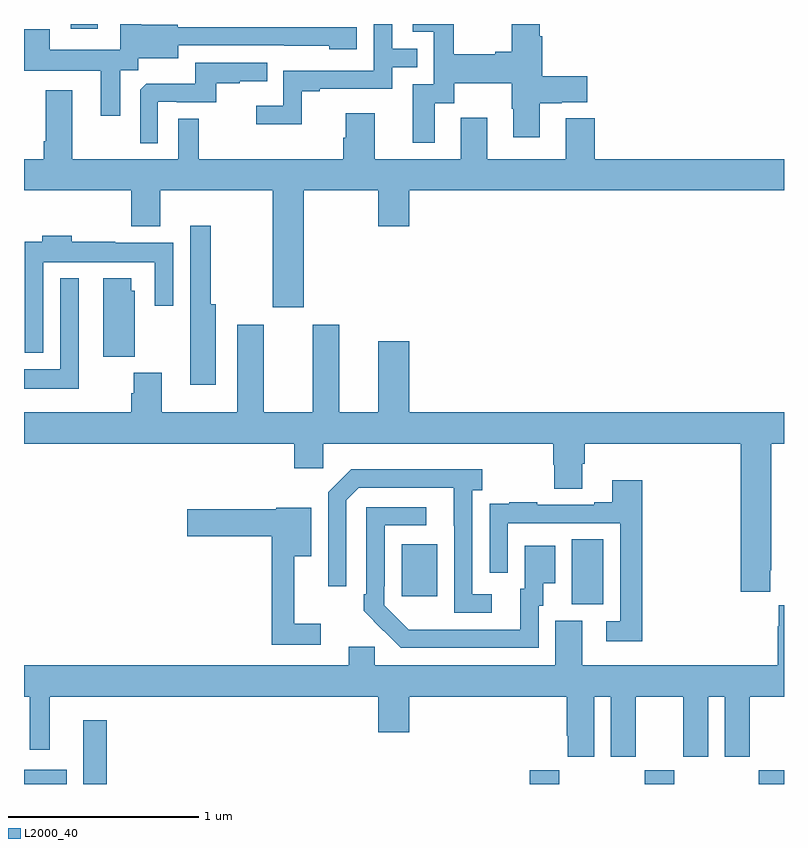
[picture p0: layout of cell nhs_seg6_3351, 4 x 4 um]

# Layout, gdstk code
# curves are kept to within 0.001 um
import gdstk
lib = gdstk.Library(unit=1e-6, precision=1e-09)
def R(c, l, rs):  # rectangles x0, y0, x1, y1
    for r in rs: c.add(gdstk.rectangle(r[:2], r[2:], *l))
def P(c, l, *ps):  # polygons
    for p in ps: c.add(gdstk.Polygon(p, *l))
L2000_40 = (2000, 40)

nhs_seg6_3351 = lib.new_cell('nhs_seg6_3351')
R(nhs_seg6_3351, L2000_40, [(307,989.5,307.225,989.575), (307.313,989.5,307.435,989.836), (309.662,989.5,309.817,989.572), (310.267,989.5,310.422,989.572), (310.867,989.5,311,989.572), (309.884,990.445,310.048,990.788), (308.987,990.489,309.175,990.763), (307.247,993.474,307.387,993.5)])
P(nhs_seg6_3351, L2000_40, [(309.163,993.082),(309.265,993.082),(309.265,993.188),(309.568,993.188),(309.568,993.054),(309.575,993.054),(309.575,992.904),(309.715,992.904),(309.715,993.082),(309.831,993.082),(309.831,993.089),(309.964,993.089),(309.964,993.224),(309.728,993.224),(309.728,993.436),(309.715,993.436),(309.715,993.5),(309.568,993.5),(309.568,993.353),(309.479,993.353),(309.479,993.34),(309.261,993.34),(309.261,993.5),(309.047,993.5),(309.047,993.459),(309.156,993.459),(309.156,993.183),(309.047,993.183),(309.047,992.874),(309.163,992.874)],
  [(307.507,993.256),(307.602,993.256),(307.602,993.32),(307.813,993.32),(307.813,993.387),(308.371,993.387),(308.371,993.386),(308.607,993.386),(308.607,993.368),(308.752,993.368),(308.752,993.483),(307.809,993.483),(307.809,993.496),(307.617,993.496),(307.617,993.5),(307.506,993.5),(307.506,993.364),(307.135,993.364),(307.135,993.473),(307,993.473),(307,993.254),(307.403,993.254),(307.403,993.018),(307.507,993.018)],
  [(308.463,993.147),(308.557,993.147),(308.557,993.159),(308.937,993.159),(308.937,993.273),(309.071,993.273),(309.071,993.369),(308.937,993.369),(308.937,993.5),(308.841,993.5),(308.841,993.255),(308.364,993.255),(308.364,993.07),(308.223,993.07),(308.223,992.972),(308.463,992.972)],
  [(307.704,993.09),(307.804,993.09),(307.804,993.087),(308.012,993.087),(308.012,993.189),(308.135,993.189),(308.135,993.2),(308.279,993.2),(308.279,993.297),(307.902,993.297),(307.902,993.185),(307.643,993.185),(307.611,993.153),(307.611,992.873),(307.704,992.873)],
  [(307.921,993.002),(307.812,993.002),(307.812,992.788),(307.255,992.788),(307.255,993.151),(307.115,993.151),(307.115,992.884),(307.103,992.884),(307.103,992.788),(307,992.788),(307,992.624),(307.565,992.624),(307.565,992.435),(307.717,992.435),(307.717,992.624),(308.309,992.624),(308.309,992.01),(308.473,992.01),(308.473,992.624),(308.864,992.624),(308.864,992.436),(309.028,992.436),(309.028,992.624),(311,992.624),(311,992.788),(310.004,992.788),(310.004,993.004),(309.851,993.004),(309.851,992.788),(309.439,992.788),(309.439,993.007),(309.299,993.007),(309.299,992.788),(308.845,992.788),(308.845,993.031),(308.693,993.031),(308.693,992.901),(308.681,992.901),(308.681,992.788),(307.921,992.788)],
  [(308.008,992.026),(307.984,992.026),(307.984,992.437),(307.875,992.437),(307.875,991.922),(307.874,991.922),(307.874,991.602),(308.008,991.602)],
  [(307.101,992.246),(307.689,992.246),(307.689,992.016),(307.785,992.016),(307.785,992.35),(307.481,992.35),(307.481,992.353),(307.25,992.353),(307.25,992.386),(307.097,992.386),(307.097,992.353),(307.005,992.353),(307.005,991.769),(307.101,991.769)],
  [(307.582,992.097),(307.564,992.097),(307.564,992.161),(307.418,992.161),(307.418,991.75),(307.582,991.75)],
  [(307.288,992.161),(307.191,992.161),(307.191,991.684),(307,991.684),(307,991.58),(307.288,991.58)],
  [(310.927,990.625),(310.932,990.625),(310.932,991.292),(311,991.292),(311,991.456),(309.028,991.456),(309.028,991.831),(308.864,991.831),(308.864,991.456),(308.659,991.456),(308.659,991.918),(308.519,991.918),(308.519,991.456),(308.263,991.456),(308.263,991.918),(308.123,991.918),(308.123,991.456),(307.725,991.456),(307.725,991.665),(307.577,991.665),(307.577,991.556),(307.565,991.556),(307.565,991.456),(307,991.456),(307,991.292),(308.423,991.292),(308.423,991.161),(308.574,991.161),(308.574,991.292),(309.785,991.292),(309.785,991.179),(309.79,991.179),(309.79,991.054),(309.937,991.054),(309.937,991.186),(309.95,991.186),(309.95,991.292),(310.772,991.292),(310.772,990.513),(310.927,990.513)],
  [(309.463,990.498),(309.36,990.498),(309.36,991.046),(309.412,991.046),(309.412,991.156),(308.722,991.156),(308.601,991.035),(308.601,990.54),(308.697,990.54),(308.697,990.993),(308.763,991.059),(309.263,991.059),(309.264,990.402),(309.463,990.402)],
  [(310.253,991.099),(310.097,991.099),(310.097,990.982),(310.001,990.982),(310.001,990.969),(309.701,990.969),(309.701,990.982),(309.553,990.982),(309.553,990.975),(309.451,990.975),(309.451,990.866),(309.45,990.866),(309.45,990.612),(309.546,990.612),(309.546,990.873),(310.137,990.873),(310.137,990.357),(310.065,990.357),(310.065,990.252),(310.253,990.252)],
  [(309.708,990.438),(309.733,990.438),(309.733,990.557),(309.796,990.557),(309.796,990.754),(309.635,990.754),(309.635,990.528),(309.611,990.528),(309.611,990.312),(309.024,990.313),(308.895,990.441),(308.895,990.541),(308.898,990.541),(308.898,990.861),(309.118,990.861),(309.118,990.957),(308.802,990.957),(308.802,990.499),(308.787,990.499),(308.787,990.411),(308.984,990.216),(309.708,990.216)],
  [(308.563,990.343),(308.423,990.343),(308.423,990.698),(308.512,990.698),(308.512,990.955),(308.328,990.955),(308.328,990.945),(307.86,990.945),(307.86,990.803),(308.305,990.803),(308.305,990.234),(308.563,990.234)],
  [(310,989.96),(310.088,989.96),(310.088,989.643),(310.219,989.643),(310.219,989.96),(310.469,989.96),(310.469,989.643),(310.6,989.643),(310.6,989.96),(310.688,989.96),(310.688,989.643),(310.819,989.643),(310.819,989.96),(311,989.96),(311,990.442),(310.973,990.442),(310.973,990.329),(310.967,990.329),(310.967,990.124),(309.937,990.124),(309.937,990.36),(309.797,990.36),(309.797,990.124),(308.847,990.124),(308.847,990.222),(308.708,990.222),(308.708,990.124),(307,990.124),(307,989.96),(307.031,989.96),(307.031,989.679),(307.135,989.679),(307.135,989.96),(308.864,989.96),(308.864,989.772),(309.028,989.772),(309.028,989.96),(309.857,989.96),(309.857,989.755),(309.863,989.755),(309.863,989.643),(310,989.643)])

lib.write_gds('nhs_seg6_3351.gds')
